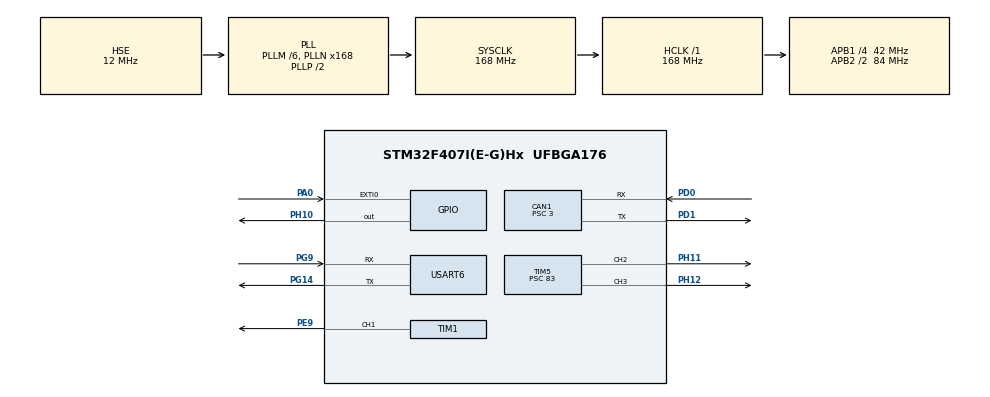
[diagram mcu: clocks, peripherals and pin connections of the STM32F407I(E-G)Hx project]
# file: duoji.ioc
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CAN1.ABOM=ENABLE
CAN1.BS1=CAN_BS1_10TQ
CAN1.BS2=CAN_BS2_3TQ
CAN1.CalculateBaudRate=1000000
CAN1.CalculateTimeBit=1000
CAN1.CalculateTimeQuantum=71.42857142857143
CAN1.NART=ENABLE
CAN1.Prescaler=3
Dma.Request0=USART6_RX
Dma.Request1=USART6_TX
Dma.USART6_RX.0.Direction=DMA_PERIPH_TO_MEMORY
Dma.USART6_RX.0.FIFOMode=DMA_FIFOMODE_DISABLE
Dma.USART6_RX.0.Instance=DMA2_Stream1
Dma.USART6_RX.0.MemDataAlignment=DMA_MDATAALIGN_BYTE
Dma.USART6_RX.0.MemInc=DMA_MINC_ENABLE
Dma.USART6_RX.0.Mode=DMA_NORMAL
Dma.USART6_RX.0.PeriphDataAlignment=DMA_PDATAALIGN_BYTE
Dma.USART6_RX.0.PeriphInc=DMA_PINC_DISABLE
Dma.USART6_RX.0.Priority=DMA_PRIORITY_LOW
Dma.USART6_TX.1.Direction=DMA_MEMORY_TO_PERIPH
Dma.USART6_TX.1.FIFOMode=DMA_FIFOMODE_DISABLE
Dma.USART6_TX.1.Instance=DMA2_Stream6
Dma.USART6_TX.1.MemDataAlignment=DMA_MDATAALIGN_BYTE
Dma.USART6_TX.1.MemInc=DMA_MINC_ENABLE
Dma.USART6_TX.1.Mode=DMA_NORMAL
Dma.USART6_TX.1.PeriphDataAlignment=DMA_PDATAALIGN_BYTE
Dma.USART6_TX.1.PeriphInc=DMA_PINC_DISABLE
Dma.USART6_TX.1.Priority=DMA_PRIORITY_LOW
FREERTOS.Tasks01=defaultTask,24,128,StartDefaultTask,Default,NULL,Dynamic,NULL,NULL;MotorTask,32,128,StartMotorTask,Default,NULL,Dynamic,NULL,NULL;CommTask,25,256,StartCommTask,Default,NULL,Dynamic,NULL,NULL;LedTask,25,128,StartLedTask,Default,NULL,Dynamic,NULL,NULL
Mcu.Family=STM32F4
Mcu.Name=STM32F407I(E-G)Hx
Mcu.Package=UFBGA176
NVIC.CAN1_RX0_IRQn=true\:5\:0\:false\:false\:true\:true\:true\:true\:true
NVIC.DMA2_Stream1_IRQn=true\:5\:0\:false\:false\:true\:true\:false\:true\:true
NVIC.DMA2_Stream6_IRQn=true\:5\:0\:false\:false\:true\:true\:false\:true\:true
NVIC.EXTI0_IRQn=true\:5\:0\:false\:false\:true\:true\:true\:true\:true
NVIC.PriorityGroup=NVIC_PRIORITYGROUP_4
NVIC.TIM5_IRQn=true\:5\:0\:false\:false\:true\:true\:true\:true\:true
NVIC.TIM7_IRQn=true\:15\:0\:false\:false\:true\:false\:false\:true\:true
NVIC.TimeBase=TIM7_IRQn
NVIC.TimeBaseIP=TIM7
NVIC.USART6_IRQn=true\:5\:0\:false\:false\:true\:true\:true\:true\:true
PA0-WKUP.GPIO_ModeDefaultEXTI=GPIO_MODE_IT_FALLING
PA0-WKUP.GPIO_PuPd=GPIO_PULLUP
PA0-WKUP.Signal=GPXTI0
PA13.Mode=Serial_Wire
PA13.Signal=SYS_JTMS-SWDIO
PA14.Mode=Serial_Wire
PA14.Signal=SYS_JTCK-SWCLK
PD0.Mode=CAN_Activate
PD0.Signal=CAN1_RX
PD1.Mode=CAN_Activate
PD1.Signal=CAN1_TX
PE9.Signal=S_TIM1_CH1
PG14.Mode=Asynchronous
PG14.Signal=USART6_TX
PG9.Mode=Asynchronous
PG9.Signal=USART6_RX
PH0-OSC_IN.Mode=HSE-External-Oscillator
PH0-OSC_IN.Signal=RCC_OSC_IN
PH1-OSC_OUT.Mode=HSE-External-Oscillator
PH1-OSC_OUT.Signal=RCC_OSC_OUT
PH10.Signal=GPIO_Output
PH11.Signal=S_TIM5_CH2
PH12.Signal=S_TIM5_CH3
ProjectManager.HeapSize=0x200
ProjectManager.StackSize=0x400
ProjectManager.TargetToolchain=CMake
RCC.48MHZClocksFreq_Value=84000000
RCC.AHBFreq_Value=168000000
RCC.APB1CLKDivider=RCC_HCLK_DIV4
RCC.APB1Freq_Value=42000000
RCC.APB1TimFreq_Value=84000000
RCC.APB2CLKDivider=RCC_HCLK_DIV2
RCC.APB2Freq_Value=84000000
RCC.APB2TimFreq_Value=168000000
RCC.CortexFreq_Value=168000000
RCC.HCLKFreq_Value=168000000
RCC.HSE_VALUE=12000000
RCC.HSI_VALUE=16000000
RCC.LSE_VALUE=32768
RCC.PLLM=6
RCC.PLLN=168
RCC.PLLSourceVirtual=RCC_PLLSOURCE_HSE
RCC.SYSCLKFreq_VALUE=168000000
RCC.SYSCLKSource=RCC_SYSCLKSOURCE_PLLCLK
RCC.VCOOutputFreq_Value=336000000
SH.S_TIM1_CH1.0=TIM1_CH1,PWM Generation1 CH1
SH.S_TIM5_CH2.0=TIM5_CH2,PWM Generation2 CH2
SH.S_TIM5_CH3.0=TIM5_CH3,PWM Generation3 CH3
TIM1.Channel-PWM\ Generation1\ CH1=TIM_CHANNEL_1
TIM1.Period=19999
TIM1.Prescaler=167
TIM5.Channel-PWM\ Generation2\ CH2=TIM_CHANNEL_2
TIM5.Channel-PWM\ Generation3\ CH3=TIM_CHANNEL_3
TIM5.Period=999
TIM5.Prescaler=83
USART6.VirtualMode=VM_ASYNC
VP_FREERTOS_VS_CMSIS_V2.Mode=CMSIS_V2
VP_SYS_VS_tim7.Mode=TIM7
VP_TIM1_VS_ClockSourceINT.Mode=Internal
VP_TIM5_VS_ClockSourceINT.Mode=Internal
board=custom

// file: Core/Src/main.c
/* USER CODE BEGIN Header */
/**
  ******************************************************************************
  * @file           : main.c
  * @brief          : Main program body
  ******************************************************************************
  * @attention
  *
  * Copyright (c) 2026 STMicroelectronics.
  * All rights reserved.
  *
  * This software is licensed under terms that can be found in the LICENSE file
  * in the root directory of this software component.
  * If no LICENSE file comes with this software, it is provided AS-IS.
  *
  ******************************************************************************
  */
/* USER CODE END Header */
#include "main.h"
#include "cmsis_os.h"
#include "can.h"
#include "dma.h"
#include "tim.h"
#include "usart.h"
#include "gpio.h"

/* USER CODE BEGIN Includes */
#include <stdio.h>
#include "motor.h"
#include "pid.h"
#include "config.h"

/* USER CODE END Includes */

/* USER CODE BEGIN PV */
PID_Data pid_speed;
volatile float target_rpm = 0.0f;
/* USER CODE END PV */

void SystemClock_Config(void);
void MX_FREERTOS_Init(void);

int main(void)
{

  /* MCU Configuration--------------------------------------------------------*/

  /* Reset of all peripherals, Initializes the Flash interface and the Systick. */
  HAL_Init();

  /* Configure the system clock */
  SystemClock_Config();

  /* Initialize all configured peripherals */
  MX_GPIO_Init();
  MX_DMA_Init();
  MX_TIM1_Init();
  MX_TIM5_Init();
  MX_USART6_UART_Init();
  MX_CAN1_Init();
  /* USER CODE BEGIN 2 */
  Motor_Init();
  PID_Init(&pid_speed, SPEED_KP, SPEED_KI, SPEED_KD, SPEED_MAX_OUT, SPEED_MAX_INTEGRAL);
  HAL_TIM_PWM_Start(&htim1, TIM_CHANNEL_1);
  __HAL_TIM_SET_COMPARE(&htim1, TIM_CHANNEL_1, (uint32_t)SERVO_PULSE_MIN_US);
  HAL_TIM_PWM_Start(&htim5, TIM_CHANNEL_2);
  __HAL_TIM_SET_COMPARE(&htim5, TIM_CHANNEL_2, BREATH_MAX);
  HAL_TIM_PWM_Start(&htim5, TIM_CHANNEL_3);
  __HAL_TIM_SET_COMPARE(&htim5, TIM_CHANNEL_3, 0);
  /* USER CODE END 2 */

  /* Init scheduler */
  osKernelInitialize();  /* Call init function for freertos objects (in cmsis_os2.c) */
  MX_FREERTOS_Init();

  /* Start scheduler */
  osKernelStart();

  /* We should never get here as control is now taken by the scheduler */

  /* Infinite loop */
  while (1)
  {

  }
}

void SystemClock_Config(void)
{
  RCC_OscInitTypeDef RCC_OscInitStruct = {0};
  RCC_ClkInitTypeDef RCC_ClkInitStruct = {0};

  /** Configure the main internal regulator output voltage
  */
  __HAL_RCC_PWR_CLK_ENABLE();
  __HAL_PWR_VOLTAGESCALING_CONFIG(PWR_REGULATOR_VOLTAGE_SCALE1);

  /** Initializes the RCC Oscillators according to the specified parameters
  * in the RCC_OscInitTypeDef structure.
  */
  RCC_OscInitStruct.OscillatorType = RCC_OSCILLATORTYPE_HSE;
  RCC_OscInitStruct.HSEState = RCC_HSE_ON;
  RCC_OscInitStruct.PLL.PLLState = RCC_PLL_ON;
  RCC_OscInitStruct.PLL.PLLSource = RCC_PLLSOURCE_HSE;
  RCC_OscInitStruct.PLL.PLLM = 6;
  RCC_OscInitStruct.PLL.PLLN = 168;
  RCC_OscInitStruct.PLL.PLLP = RCC_PLLP_DIV2;
  RCC_OscInitStruct.PLL.PLLQ = 4;
  if (HAL_RCC_OscConfig(&RCC_OscInitStruct) != HAL_OK)
  {
    Error_Handler();
  }

  /** Initializes the CPU, AHB and APB buses clocks
  */
  RCC_ClkInitStruct.ClockType = RCC_CLOCKTYPE_HCLK|RCC_CLOCKTYPE_SYSCLK
                              |RCC_CLOCKTYPE_PCLK1|RCC_CLOCKTYPE_PCLK2;
  RCC_ClkInitStruct.SYSCLKSource = RCC_SYSCLKSOURCE_PLLCLK;
  RCC_ClkInitStruct.AHBCLKDivider = RCC_SYSCLK_DIV1;
  RCC_ClkInitStruct.APB1CLKDivider = RCC_HCLK_DIV4;
  RCC_ClkInitStruct.APB2CLKDivider = RCC_HCLK_DIV2;

  if (HAL_RCC_ClockConfig(&RCC_ClkInitStruct, FLASH_LATENCY_5) != HAL_OK)
  {
    Error_Handler();
  }
}

void HAL_TIM_PeriodElapsedCallback(TIM_HandleTypeDef *htim)
{
  if (htim->Instance == TIM7)
  {
    HAL_IncTick();
  }
}

void Error_Handler(void)
{
  __disable_irq();
  while (1)
  {
  }
}

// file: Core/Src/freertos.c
/* USER CODE BEGIN Header */
/**
  ******************************************************************************
  * File Name          : freertos.c
  * Description        : Code for freertos applications
  ******************************************************************************
  * @attention
  *
  * Copyright (c) 2026 STMicroelectronics.
  * All rights reserved.
  *
  * This software is licensed under terms that can be found in the LICENSE file
  * in the root directory of this software component.
  * If no LICENSE file comes with this software, it is provided AS-IS.
  *
  ******************************************************************************
  */
/* USER CODE END Header */

#include "FreeRTOS.h"
#include "task.h"
#include "main.h"
#include "cmsis_os.h"

/* USER CODE BEGIN Includes */
#include "pid.h"
#include <stdio.h>
#include "usart.h"
#include <stdlib.h>
#include <string.h>
#include "tim.h"
#include "motor.h"
#include "config.h"
/* USER CODE END Includes */

/* USER CODE BEGIN Variables */
extern PID_Data pid_speed;
extern volatile float target_rpm;
uint8_t rx_buf[64];
volatile uint16_t rx_len = 0;
volatile uint8_t rx_ready = 0;
volatile uint8_t key_flag = 0;
/* USER CODE END Variables */
/* Definitions for defaultTask */
osThreadId_t defaultTaskHandle;
const osThreadAttr_t defaultTask_attributes = {
  .name = "defaultTask",
  .stack_size = 128 * 4,
  .priority = (osPriority_t) osPriorityNormal,
};
/* Definitions for MotorTask */
osThreadId_t MotorTaskHandle;
const osThreadAttr_t MotorTask_attributes = {
  .name = "MotorTask",
  .stack_size = 128 * 4,
  .priority = (osPriority_t) osPriorityAboveNormal,
};
/* Definitions for CommTask */
osThreadId_t CommTaskHandle;
const osThreadAttr_t CommTask_attributes = {
  .name = "CommTask",
  .stack_size = 256 * 4,
  .priority = (osPriority_t) osPriorityNormal1,
};
/* Definitions for LedTask */
osThreadId_t LedTaskHandle;
const osThreadAttr_t LedTask_attributes = {
  .name = "LedTask",
  .stack_size = 128 * 4,
  .priority = (osPriority_t) osPriorityNormal1,
};

void StartDefaultTask(void *argument);
void StartMotorTask(void *argument);
void StartCommTask(void *argument);
void StartLedTask(void *argument);

void MX_FREERTOS_Init(void); /* (MISRA C 2004 rule 8.1) */

void MX_FREERTOS_Init(void) {

  /* Create the thread(s) */
  /* creation of defaultTask */
  defaultTaskHandle = osThreadNew(StartDefaultTask, NULL, &defaultTask_attributes);

  /* creation of MotorTask */
  MotorTaskHandle = osThreadNew(StartMotorTask, NULL, &MotorTask_attributes);

  /* creation of CommTask */
  CommTaskHandle = osThreadNew(StartCommTask, NULL, &CommTask_attributes);

  /* creation of LedTask */
  LedTaskHandle = osThreadNew(StartLedTask, NULL, &LedTask_attributes);

}

void StartDefaultTask(void *argument)
{
  for(;;)
  {
    osDelay(1);
  }
}

void StartMotorTask(void *argument)
{
  /* USER CODE BEGIN StartMotorTask */
  /* Infinite loop */
  for (;;)
  {
    float out = PID_Calc(&pid_speed, target_rpm, (float)motor.speed);
    Motor_SendVoltage((int16_t)out);
    osDelay(MOTOR_TASK_PERIOD_MS);
  }
  /* USER CODE END StartMotorTask */
}

void StartCommTask(void *argument)
{
  /* USER CODE BEGIN StartCommTask */
  /* Infinite loop */
  static uint32_t last_print_time = 0;
  char buf[64];
  HAL_UARTEx_ReceiveToIdle_DMA(&huart6, rx_buf, sizeof(rx_buf));
  for (;;)
  {
    if (rx_ready)
    {
      rx_ready = 0;
      if (rx_len >= MOTOR_CMD_MIN_LEN && strncmp((char *)rx_buf, MOTOR_CMD_PREFIX, MOTOR_CMD_PREFIX_LEN) == 0)
      {
        target_rpm = (float)atoi((char *)rx_buf + MOTOR_CMD_PREFIX_LEN);
      }
    }

    if (HAL_GetTick() - last_print_time > PRINT_PERIOD_MS)
    {
      last_print_time = HAL_GetTick();
      int n = sprintf(buf, "speed=%d rpm\r\n", motor.speed);
      HAL_UART_Transmit(&huart6, (uint8_t *)buf, n, UART_TX_TIMEOUT_MS);
    }

    osDelay(COMM_TASK_PERIOD_MS);
  }
  /* USER CODE END StartCommTask */
}

void StartLedTask(void *argument)
{
  /* USER CODE BEGIN StartLedTask */
  /* Infinite loop */
  static uint32_t last_key_tick = 0;
  static float servo_angle = 0.0f;
  static float servo_dir   = SERVO_STEP_DEG;
  static uint32_t breath_val = 0;
  static int32_t breath_dir = BREATH_STEP;

  for (;;)
  {
    if (key_flag)
    {
      key_flag = 0;
      if (HAL_GetTick() - last_key_tick > KEY_DEBOUNCE_MS)
      {
        last_key_tick = HAL_GetTick();
        if (servo_angle >= SERVO_RANGE_DEG) servo_dir = -SERVO_STEP_DEG;
        if (servo_angle <= 0.0f) servo_dir = SERVO_STEP_DEG;

        servo_angle += servo_dir;

        __HAL_TIM_SET_COMPARE(&htim1, TIM_CHANNEL_1,
                              (uint32_t)(SERVO_PULSE_MIN_US + servo_angle * SERVO_PULSE_SPAN_US / SERVO_RANGE_DEG));
      }
    }

    if (HAL_GetTick() - last_rx_time > MOTOR_OFFLINE_MS)
    {
      __HAL_TIM_SET_COMPARE(&htim5, TIM_CHANNEL_2, 0);
      breath_val += breath_dir;
      if (breath_val >= BREATH_MAX) breath_dir = -BREATH_STEP;
      if (breath_val <= 0) breath_dir = BREATH_STEP;
      __HAL_TIM_SET_COMPARE(&htim5, TIM_CHANNEL_3, (uint32_t)breath_val);
    }
    else
    {
      __HAL_TIM_SET_COMPARE(&htim5, TIM_CHANNEL_2, BREATH_MAX);
      __HAL_TIM_SET_COMPARE(&htim5, TIM_CHANNEL_3, 0);
      breath_val = 0;
      breath_dir = BREATH_STEP;
    }

    osDelay(LED_TASK_PERIOD_MS);
  }
  /* USER CODE END StartLedTask */
}

/* USER CODE BEGIN Application */
void HAL_UARTEx_RxEventCallback(UART_HandleTypeDef *huart, uint16_t Size)
{
  if (huart->Instance == USART6)
  {
    rx_len = Size;
    rx_ready = 1;
    HAL_UARTEx_ReceiveToIdle_DMA(&huart6, rx_buf, sizeof(rx_buf));
  }
}
void HAL_GPIO_EXTI_Callback(uint16_t GPIO_Pin)
{
  if (GPIO_Pin == GPIO_PIN_0)
  {
    key_flag = 1;
  }
}
/* USER CODE END Application */
